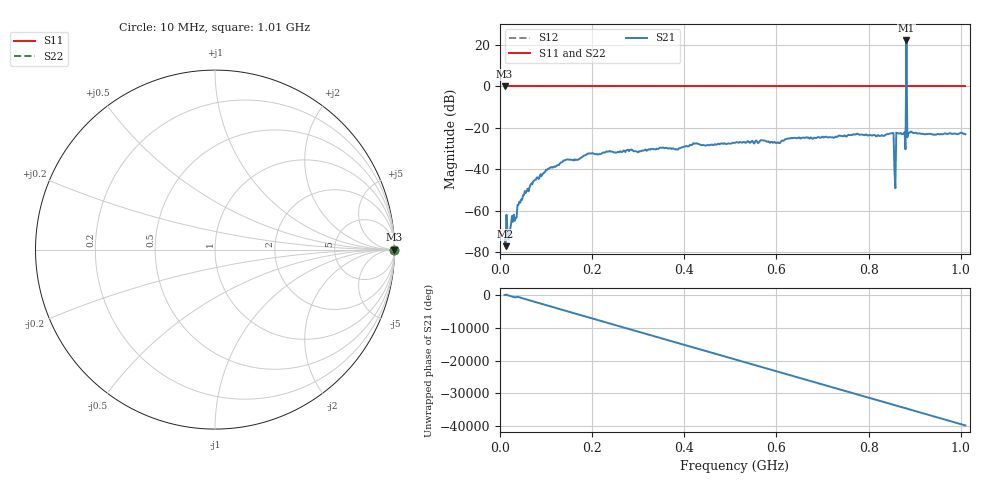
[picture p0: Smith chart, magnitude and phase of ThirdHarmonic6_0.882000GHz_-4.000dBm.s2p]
! 8/16/2025 5:02:15 AM
! C:\ANRITSUVNA\TEMP\TEMP.S2P
! CHANNEL.1
! TR.MEASUREMENT
! RAW.DATA
! RF.CORRECTION.OFF
! AVERAGING.OFF
! IF.BANDWIDTH: 5KHZ
! SWEEPTYPE:  FREQ.SWEEP(Linear)
! Reference Plane Port Info
! PORT:  PORT1  PORT2
! DISTANCE:  0  m  0  m
! TIME:  0  s  0  s
! PHASE.OFFSET:  0  deg.  0  deg.
! LOSS:  0  dB  0  dB
! REF.LOSS:  0  dB  0  dB
! REF.FREQ:  0  Hz  0  Hz
! Power Info
! POWER:  -20  dBm  -20  dBm
! EFF.POWER:  -20  dBm  -20  dBm
! SOURCE.ATTEN:  0  dB  0  dB
! TEST.ATTEN:  0  dB  0  dB
# GHZ S RI R 50.0
! FREQ.GHZ  S11RE  S11IM  S21RE  S21IM  S12RE  S12IM  S22RE  S22IM
!; PortSelection: Port_12
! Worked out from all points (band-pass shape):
!   501 points, 10 MHz to 1.01 GHz, reference 50 ohm
!   highest |S21| = 22.03 dB at 882 MHz (marker M1); lowest = -77.2 dB at 12 MHz (marker M2)
!   |S21| within 3 dB of the highest: 881.8857 MHz to 882.1284 MHz (242.8 kHz wide, 0.0275 % of centre)
!   lowest |S11| = 0.0 dB at 10 MHz (marker M3)
!   |S11| at or under -10 dB: nowhere
!   |S22| runs from 0.0 to 0.0 dB; largest |S21 - S12| = 12
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0.01  1 0  0.000141 -0.000171  1 0  1 0
0.012  1 0  0.0001 -9.55e-05  1 0  1 0
0.02  1 0  -1.71e-05 0.000207  1 0  1 0
0.026  1 0  -0.000604 -0.000431  1 0  1 0
0.042  1 0  0.00162 0.000258  1 0  1 0
0.076  1 0  0.00547 0.000601  1 0  1 0
0.142  1 0  -0.0151 -0.00663  1 0  1 0
0.178  1 0  -0.0187 -0.00519  1 0  1 0
0.344  1 0  0.0303 -0.00488  1 0  1 0
0.51  1 0  -0.0416 0.0108  1 0  1 0
0.678  1 0  -0.0171 -0.0509  1 0  1 0
0.844  1 0  0.041 0.0576  1 0  1 0
0.85  1 0  -0.0723 0.00932  1 0  1 0
0.854  1 0  0.0728 0.0105  1 0  1 0
0.86  1 0  -0.0461 0.0597  1 0  1 0
0.864  1 0  0.0598 -0.0427  1 0  1 0
0.876  1 0  -0.0658 -0.0312  1 0  1 0
0.878  1 0  -0.0434 0.0647  1 0  1 0
0.882  1 0  12.12 3.555  1 0  1 0
0.886  1 0  -0.0697 0.0282  1 0  1 0
0.888  1 0  0.0155 0.0732  1 0  1 0
1.01  1 0  -0.0628 -0.0287  1 0  1 0
